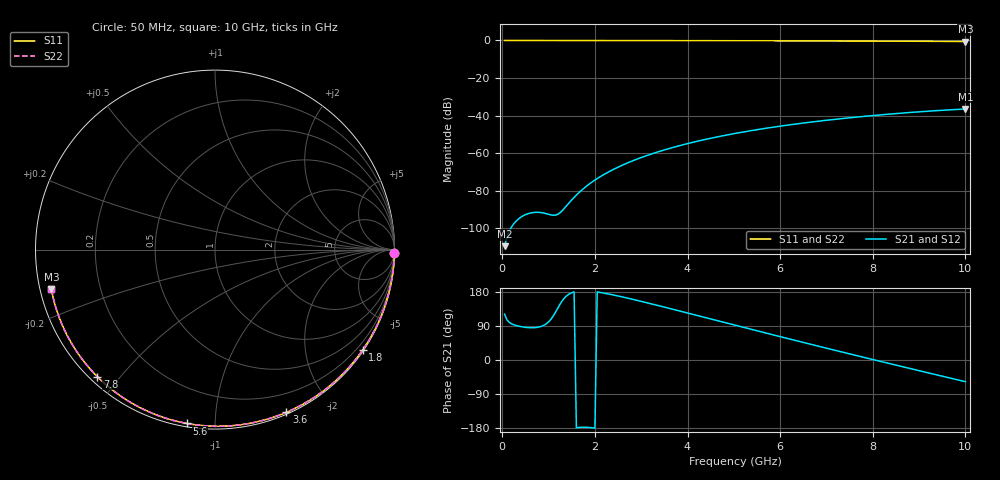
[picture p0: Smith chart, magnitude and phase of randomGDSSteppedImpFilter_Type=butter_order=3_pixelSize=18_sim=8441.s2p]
! freq	dB(S11)	phase(S11)	dB(S12)	phase(S12)
!  dB(S21)	phase(S21)	dB(S22)	phase(S22)
!S-par simulation data
#  GHz  S  DB  R 50
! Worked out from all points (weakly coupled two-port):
!   200 points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, 50 MHz to 10 GHz, reference 50 ohm
!   highest |S21| = -36.49 dB at 10 GHz (marker M1); lowest = -109.5 dB at 50 MHz (marker M2)
!   lowest |S11| = -0.6 dB at 10 GHz (marker M3), VSWR 31.29, Z = 1.62 - j5.99 ohm
!   |S11| at or under -10 dB: nowhere
!   |S22| runs from -0.6 to 0.0 dB; largest |S21 - S12| = 0
!   S11 on the Smith chart (normalised r, x): 50 MHz: open; 1.8 GHz: 0.03, -3.26; 3.6 GHz: 0.02, -1.53; 5.6 GHz: 0.02, -0.85; 7.8 GHz: 0.02, -0.44; 10 GHz: 0.03, -0.12
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0.05  -0.00 -1.0  -109.51 120.9  -109.51 120.9  -0.00 -1.0
0.45  -0.01 -8.7  -93.35 87.0  -93.35 87.0  -0.01 -8.7
0.85  -0.02 -16.3  -91.68 89.0  -91.68 89.0  -0.02 -16.3
1.25  -0.03 -23.8  -91.65 148.0  -91.65 148.0  -0.03 -23.8
1.7  -0.04 -32.2  -79.99 -177.5  -79.99 -177.5  -0.04 -32.2
1.75  -0.04 -33.2  -78.93 -177.3  -78.93 -177.3  -0.04 -33.2
1.8  -0.04 -34.1  -77.92 -177.5  -77.92 -177.5  -0.04 -34.1
1.95  -0.05 -36.9  -75.16 -178.9  -75.16 -178.9  -0.05 -36.9
2.1  -0.05 -39.6  -72.74 178.5  -72.74 178.5  -0.05 -39.6
2.45  -0.06 -46.0  -68.03 170.3  -68.03 170.3  -0.06 -46.0
2.9  -0.07 -54.0  -63.25 157.7  -63.25 157.7  -0.07 -54.0
3.4  -0.08 -62.8  -59.01 142.6  -59.01 142.6  -0.08 -62.8
3.6  -0.09 -66.3  -57.54 136.5  -57.54 136.5  -0.09 -66.3
4.3  -0.11 -78.1  -53.15 114.6  -53.15 114.6  -0.11 -78.1
5.05  -0.14 -90.4  -49.39 91.1  -49.39 91.1  -0.14 -90.4
5.6  -0.16 -99.2  -47.10 74.0  -47.10 74.0  -0.16 -99.2
6.15  -0.19 -107.8  -45.10 57.0  -45.10 57.0  -0.19 -107.8
6.7  -0.23 -116.2  -43.35 40.2  -43.35 40.2  -0.23 -116.2
7.8  -0.31 -132.9  -40.44 7.2  -40.44 7.2  -0.31 -132.9
8.35  -0.36 -141.1  -39.23 -9.1  -39.23 -9.1  -0.36 -141.1
9.2  -0.45 -154.0  -37.65 -34.0  -37.65 -34.0  -0.45 -154.0
10  -0.56 -166.3  -36.49 -57.2  -36.49 -57.2  -0.56 -166.3
